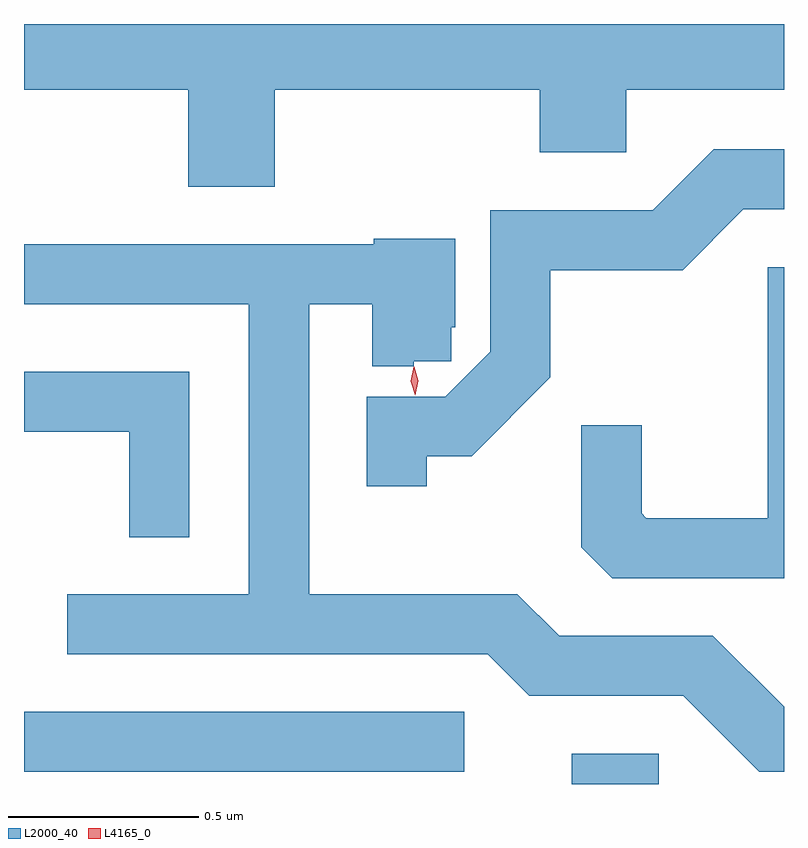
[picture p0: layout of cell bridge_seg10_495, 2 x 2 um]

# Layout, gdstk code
import gdstk
lib = gdstk.Library(unit=1e-6, precision=1e-09)
def R(c, l, rs):  # rectangles x0, y0, x1, y1
    for r in rs: c.add(gdstk.rectangle(r[:2], r[2:], *l))
def P(c, l, *ps):  # polygons
    for p in ps: c.add(gdstk.Polygon(p, *l))
L2000_40 = (2000, 40)
L4165_0 = (4165, 0)

bridge_seg10_495 = lib.new_cell('bridge_seg10_495')
R(bridge_seg10_495, L2000_40, [(1053.811,2163.149,1054.039,2163.229), (1052.369,2163.181,1053.528,2163.339)])
P(bridge_seg10_495, L2000_40, [(1053.029,2164.976),(1053.726,2164.976),(1053.726,2164.811),(1053.954,2164.811),(1053.954,2164.976),(1054.369,2164.976),(1054.369,2165.149),(1052.369,2165.149),(1052.369,2164.976),(1052.801,2164.976),(1052.801,2164.721),(1053.029,2164.721)],
  [(1053.429,2164.011),(1053.547,2164.011),(1053.754,2164.219),(1053.754,2164.501),(1054.102,2164.501),(1054.262,2164.661),(1054.369,2164.661),(1054.369,2164.819),(1054.184,2164.819),(1054.024,2164.659),(1053.596,2164.659),(1053.596,2164.286),(1053.478,2164.168),(1053.271,2164.168),(1053.271,2163.933),(1053.429,2163.933)],
  [(1054.369,2163.352),(1054.182,2163.539),(1053.777,2163.539),(1053.667,2163.649),(1053.119,2163.649),(1053.119,2164.411),(1053.286,2164.411),(1053.286,2164.249),(1053.395,2164.249),(1053.395,2164.261),(1053.493,2164.261),(1053.493,2164.351),(1053.504,2164.351),(1053.504,2164.584),(1053.29,2164.584),(1053.29,2164.569),(1052.369,2164.569),(1052.369,2164.411),(1052.961,2164.411),(1052.961,2163.649),(1052.483,2163.649),(1052.483,2163.491),(1053.589,2163.491),(1053.699,2163.381),(1054.104,2163.381),(1054.304,2163.181),(1054.369,2163.181)],
  [(1054.369,2164.509),(1054.326,2164.509),(1054.326,2163.849),(1054.007,2163.849),(1053.994,2163.862),(1053.994,2164.093),(1053.836,2164.093),(1053.836,2163.772),(1053.917,2163.691),(1054.369,2163.691)],
  [(1052.804,2164.234),(1052.369,2164.234),(1052.369,2164.076),(1052.646,2164.076),(1052.646,2163.798),(1052.804,2163.798)])
P(bridge_seg10_495, L4165_0, [(1053.398,2164.172),(1053.398,2164.172),(1053.387,2164.209),(1053.395,2164.247),(1053.395,2164.247),(1053.396,2164.247),(1053.407,2164.21),(1053.399,2164.172)],
  [(1053.398,2164.174),(1053.398,2164.174),(1053.387,2164.209),(1053.395,2164.245),(1053.395,2164.245),(1053.396,2164.245),(1053.407,2164.21),(1053.399,2164.174)])

lib.write_gds('bridge_seg10_495.gds')
